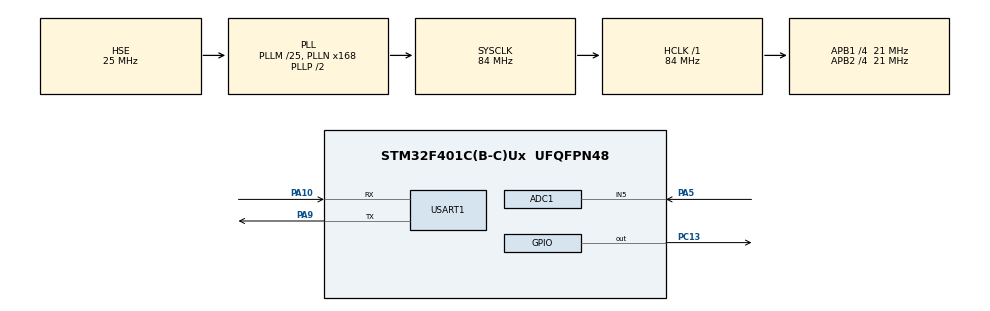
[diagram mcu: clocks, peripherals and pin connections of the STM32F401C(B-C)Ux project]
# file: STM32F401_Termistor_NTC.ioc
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ADC1.Channel-5\#ChannelRegularConversion=ADC_CHANNEL_5
ADC1.ClockPrescaler=ADC_CLOCK_SYNC_PCLK_DIV6
ADC1.ContinuousConvMode=ENABLE
ADC1.DMAContinuousRequests=DISABLE
ADC1.EOCSelection=ADC_EOC_SEQ_CONV
ADC1.InjNumberOfConversion=0
ADC1.NbrOfConversion=1
ADC1.NbrOfConversionFlag=1
ADC1.Rank-5\#ChannelRegularConversion=1
ADC1.SamplingTime-5\#ChannelRegularConversion=ADC_SAMPLETIME_15CYCLES
ADC1.master=1
Dma.Request0=USART1_RX
Dma.Request1=USART1_TX
Dma.USART1_RX.0.Direction=DMA_PERIPH_TO_MEMORY
Dma.USART1_RX.0.FIFOMode=DMA_FIFOMODE_DISABLE
Dma.USART1_RX.0.Instance=DMA2_Stream2
Dma.USART1_RX.0.MemDataAlignment=DMA_MDATAALIGN_BYTE
Dma.USART1_RX.0.MemInc=DMA_MINC_ENABLE
Dma.USART1_RX.0.Mode=DMA_NORMAL
Dma.USART1_RX.0.PeriphDataAlignment=DMA_PDATAALIGN_BYTE
Dma.USART1_RX.0.PeriphInc=DMA_PINC_DISABLE
Dma.USART1_RX.0.Priority=DMA_PRIORITY_LOW
Dma.USART1_TX.1.Direction=DMA_MEMORY_TO_PERIPH
Dma.USART1_TX.1.FIFOMode=DMA_FIFOMODE_DISABLE
Dma.USART1_TX.1.Instance=DMA2_Stream7
Dma.USART1_TX.1.MemDataAlignment=DMA_MDATAALIGN_BYTE
Dma.USART1_TX.1.MemInc=DMA_MINC_ENABLE
Dma.USART1_TX.1.Mode=DMA_NORMAL
Dma.USART1_TX.1.PeriphDataAlignment=DMA_PDATAALIGN_BYTE
Dma.USART1_TX.1.PeriphInc=DMA_PINC_DISABLE
Dma.USART1_TX.1.Priority=DMA_PRIORITY_LOW
Mcu.Family=STM32F4
Mcu.Name=STM32F401C(B-C)Ux
Mcu.Package=UFQFPN48
NVIC.DMA2_Stream2_IRQn=true\:2\:0\:true\:false\:true\:false\:true\:true
NVIC.DMA2_Stream7_IRQn=true\:0\:0\:false\:false\:true\:false\:true\:true
NVIC.PriorityGroup=NVIC_PRIORITYGROUP_4
NVIC.USART1_IRQn=true\:1\:0\:true\:false\:true\:true\:true\:true
PA10.Mode=Asynchronous
PA10.Signal=USART1_RX
PA13.Mode=Serial_Wire
PA13.Signal=SYS_JTMS-SWDIO
PA14.Mode=Serial_Wire
PA14.Signal=SYS_JTCK-SWCLK
PA5.Signal=ADCx_IN5
PA9.Mode=Asynchronous
PA9.Signal=USART1_TX
PC13-ANTI_TAMP.Signal=GPIO_Output
PH0\ -\ OSC_IN.Mode=HSE-External-Oscillator
PH0\ -\ OSC_IN.Signal=RCC_OSC_IN
PH1\ -\ OSC_OUT.Mode=HSE-External-Oscillator
PH1\ -\ OSC_OUT.Signal=RCC_OSC_OUT
ProjectManager.HeapSize=0x200
ProjectManager.StackSize=0x400
ProjectManager.TargetToolchain=STM32CubeIDE
RCC.48MHZClocksFreq_Value=42000000
RCC.AHBFreq_Value=84000000
RCC.APB1CLKDivider=RCC_HCLK_DIV4
RCC.APB1Freq_Value=21000000
RCC.APB1TimFreq_Value=42000000
RCC.APB2CLKDivider=RCC_HCLK_DIV4
RCC.APB2Freq_Value=21000000
RCC.APB2TimFreq_Value=42000000
RCC.CortexFreq_Value=84000000
RCC.HCLKFreq_Value=84000000
RCC.HSE_VALUE=25000000
RCC.HSI_VALUE=16000000
RCC.LSE_VALUE=32768
RCC.PLLM=25
RCC.PLLN=168
RCC.PLLSourceVirtual=RCC_PLLSOURCE_HSE
RCC.SYSCLKFreq_VALUE=84000000
RCC.SYSCLKSource=RCC_SYSCLKSOURCE_PLLCLK
RCC.VCOOutputFreq_Value=168000000
SH.ADCx_IN5.0=ADC1_IN5,IN5
USART1.VirtualMode=VM_ASYNC
board=custom

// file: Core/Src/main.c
/* USER CODE BEGIN Header */
/**
 ******************************************************************************
 * @file           : main.c
 * @brief          : Main program body
 ******************************************************************************
 * @attention
 *
 * Copyright (c) 2023 STMicroelectronics.
 * All rights reserved.
 *
 * This software is licensed under terms that can be found in the LICENSE file
 * in the root directory of this software component.
 * If no LICENSE file comes with this software, it is provided AS-IS.
 *
 ******************************************************************************
 */
/* USER CODE END Header */
#include "main.h"

/* USER CODE BEGIN Includes */
#include "math.h"
#include <stdio.h>
#include <stdint.h>
#include <string.h>

/* USER CODE END Includes */

ADC_HandleTypeDef hadc1;

UART_HandleTypeDef huart1;
DMA_HandleTypeDef hdma_usart1_rx;
DMA_HandleTypeDef hdma_usart1_tx;

/* USER CODE BEGIN PV */

uint32_t valADC;

double res = 9876.0; // resistencia pull down con el termistor

double rntc = 100000.0; // resistencia medida

double temp_celcius_1;
double temp_celcius_2;
double temp_celcius_3;

char rxBufferDMA[50];
char txBufferDMA[50];
char outBuffer[50];
char dest[80];

/* coeficientes Steinhart-Hart */
/* https://www.thinksrs.com/downloads/programs/therm%20calc/ntccalibrator/ntccalculator.html */
double A = 0.6332632718e-3;
double B = 2.257307612e-4;
double C = 0.7990237204e-7;

uint32_t temp;

/* USER CODE END PV */

void SystemClock_Config(void);
static void MX_GPIO_Init(void);
static void MX_DMA_Init(void);
static void MX_ADC1_Init(void);
static void MX_USART1_UART_Init(void);
/* USER CODE BEGIN PFP */

double getTemp_1(double res_ntc);
double getTemp_2(double res_ntc);
double getTemp_3(double res_ntc);
float filter1(float signal);

char trama[] = { 0x11, 0x05, 0x00, 0xAC, 0xFF, 0X00 };

uint16_t CRC16_2(char *buf, uint16_t len);
uint16_t CRC16(char *nData, uint16_t wLength);

/* USER CODE END PFP */

int main(void) {

	/* MCU Configuration--------------------------------------------------------*/

	/* Reset of all peripherals, Initializes the Flash interface and the Systick. */
	HAL_Init();

	/* Configure the system clock */
	SystemClock_Config();

	/* Initialize all configured peripherals */
	MX_GPIO_Init();
	MX_DMA_Init();
	MX_ADC1_Init();
	MX_USART1_UART_Init();

	/* Infinite loop */
	/* USER CODE BEGIN WHILE */
	unsigned int n = CRC16_2(trama, 6);
	unsigned char x = (0xFF00 & n) >> 8, y = 0x00FF & n;

	HAL_ADC_Start(&hadc1);

	HAL_UARTEx_ReceiveToIdle_DMA(&huart1, (uint8_t*) rxBufferDMA,
			sizeof(rxBufferDMA));
	__HAL_DMA_DISABLE_IT(&hdma_usart1_rx, DMA_IT_HT);

	while (1) {

		/*  Calculamos el valor de resistencia en el termistor
		 *  mediante la lectura analogica */
		rntc = res * ((4095.0 / filter1(hadc1.Instance->DR)) - 1.0);

		// tres calculos diferentes

		temp_celcius_1 = getTemp_1(rntc);
		temp_celcius_2 = getTemp_2(rntc);
		temp_celcius_3 = getTemp_3(rntc);

		uint8_t l = sprintf(outBuffer, "temperaturas %.1f, %.1f, %.1f \r\n",
				temp_celcius_1, temp_celcius_2, temp_celcius_3);

		// Transmision sin DMA
		//HAL_UART_Transmit_DMA(&huart1, (uint8_t*) outBuffer, l);

		// Transmision con DMA
		HAL_UART_Transmit(&huart1, (uint8_t*) outBuffer, l, 100);
		/*

		 sprintf(outBuffer, "0x%04x\n", n); // to check original value
		 sprintf(outBuffer, "0x%02x\n0x%02x\n", x, y); // to check separated values
		 sprintf(outBuffer, "0x%04x ", CRC16_2(trama, 6));
		 sprintf(outBuffer, "numero 0x%04x", CRC16(trama, 6));
		 */

		HAL_Delay(200);

		/* USER CODE END WHILE */

	}
}

void SystemClock_Config(void) {
	RCC_OscInitTypeDef RCC_OscInitStruct = { 0 };
	RCC_ClkInitTypeDef RCC_ClkInitStruct = { 0 };

	/** Configure the main internal regulator output voltage
	 */
	__HAL_RCC_PWR_CLK_ENABLE();
	__HAL_PWR_VOLTAGESCALING_CONFIG(PWR_REGULATOR_VOLTAGE_SCALE2);

	/** Initializes the RCC Oscillators according to the specified parameters
	 * in the RCC_OscInitTypeDef structure.
	 */
	RCC_OscInitStruct.OscillatorType = RCC_OSCILLATORTYPE_HSE;
	RCC_OscInitStruct.HSEState = RCC_HSE_ON;
	RCC_OscInitStruct.PLL.PLLState = RCC_PLL_ON;
	RCC_OscInitStruct.PLL.PLLSource = RCC_PLLSOURCE_HSE;
	RCC_OscInitStruct.PLL.PLLM = 25;
	RCC_OscInitStruct.PLL.PLLN = 168;
	RCC_OscInitStruct.PLL.PLLP = RCC_PLLP_DIV2;
	RCC_OscInitStruct.PLL.PLLQ = 4;
	if (HAL_RCC_OscConfig(&RCC_OscInitStruct) != HAL_OK) {
		Error_Handler();
	}

	/** Initializes the CPU, AHB and APB buses clocks
	 */
	RCC_ClkInitStruct.ClockType = RCC_CLOCKTYPE_HCLK | RCC_CLOCKTYPE_SYSCLK
			| RCC_CLOCKTYPE_PCLK1 | RCC_CLOCKTYPE_PCLK2;
	RCC_ClkInitStruct.SYSCLKSource = RCC_SYSCLKSOURCE_PLLCLK;
	RCC_ClkInitStruct.AHBCLKDivider = RCC_SYSCLK_DIV1;
	RCC_ClkInitStruct.APB1CLKDivider = RCC_HCLK_DIV4;
	RCC_ClkInitStruct.APB2CLKDivider = RCC_HCLK_DIV4;

	if (HAL_RCC_ClockConfig(&RCC_ClkInitStruct, FLASH_LATENCY_2) != HAL_OK) {
		Error_Handler();
	}
}

static void MX_ADC1_Init(void) {

	ADC_ChannelConfTypeDef sConfig = { 0 };

	/** Configure the global features of the ADC (Clock, Resolution, Data Alignment and number of conversion)
	 */
	hadc1.Instance = ADC1;
	hadc1.Init.ClockPrescaler = ADC_CLOCK_SYNC_PCLK_DIV6;
	hadc1.Init.Resolution = ADC_RESOLUTION_12B;
	hadc1.Init.ScanConvMode = DISABLE;
	hadc1.Init.ContinuousConvMode = ENABLE;
	hadc1.Init.DiscontinuousConvMode = DISABLE;
	hadc1.Init.ExternalTrigConvEdge = ADC_EXTERNALTRIGCONVEDGE_NONE;
	hadc1.Init.ExternalTrigConv = ADC_SOFTWARE_START;
	hadc1.Init.DataAlign = ADC_DATAALIGN_RIGHT;
	hadc1.Init.NbrOfConversion = 1;
	hadc1.Init.DMAContinuousRequests = DISABLE;
	hadc1.Init.EOCSelection = ADC_EOC_SEQ_CONV;
	if (HAL_ADC_Init(&hadc1) != HAL_OK) {
		Error_Handler();
	}

	/** Configure for the selected ADC regular channel its corresponding rank in the sequencer and its sample time.
	 */
	sConfig.Channel = ADC_CHANNEL_5;
	sConfig.Rank = 1;
	sConfig.SamplingTime = ADC_SAMPLETIME_15CYCLES;
	if (HAL_ADC_ConfigChannel(&hadc1, &sConfig) != HAL_OK) {
		Error_Handler();
	}

}

static void MX_USART1_UART_Init(void) {

	huart1.Instance = USART1;
	huart1.Init.BaudRate = 115200;
	huart1.Init.WordLength = UART_WORDLENGTH_8B;
	huart1.Init.StopBits = UART_STOPBITS_1;
	huart1.Init.Parity = UART_PARITY_NONE;
	huart1.Init.Mode = UART_MODE_TX_RX;
	huart1.Init.HwFlowCtl = UART_HWCONTROL_NONE;
	huart1.Init.OverSampling = UART_OVERSAMPLING_16;
	if (HAL_UART_Init(&huart1) != HAL_OK) {
		Error_Handler();
	}

}

static void MX_DMA_Init(void) {

	/* DMA controller clock enable */
	__HAL_RCC_DMA2_CLK_ENABLE();

	/* DMA interrupt init */
	/* DMA2_Stream2_IRQn interrupt configuration */
	HAL_NVIC_SetPriority(DMA2_Stream2_IRQn, 2, 0);
	HAL_NVIC_EnableIRQ(DMA2_Stream2_IRQn);
	/* DMA2_Stream7_IRQn interrupt configuration */
	HAL_NVIC_SetPriority(DMA2_Stream7_IRQn, 0, 0);
	HAL_NVIC_EnableIRQ(DMA2_Stream7_IRQn);

}

static void MX_GPIO_Init(void) {
	GPIO_InitTypeDef GPIO_InitStruct = { 0 };

	/* GPIO Ports Clock Enable */
	__HAL_RCC_GPIOC_CLK_ENABLE();
	__HAL_RCC_GPIOH_CLK_ENABLE();
	__HAL_RCC_GPIOA_CLK_ENABLE();

	/*Configure GPIO pin Output Level */
	HAL_GPIO_WritePin(GPIOC, GPIO_PIN_13, GPIO_PIN_RESET);

	/*Configure GPIO pin : PC13 */
	GPIO_InitStruct.Pin = GPIO_PIN_13;
	GPIO_InitStruct.Mode = GPIO_MODE_OUTPUT_PP;
	GPIO_InitStruct.Pull = GPIO_NOPULL;
	GPIO_InitStruct.Speed = GPIO_SPEED_FREQ_LOW;
	HAL_GPIO_Init(GPIOC, &GPIO_InitStruct);

}

/* USER CODE BEGIN 4 */

/* funcion con coeficientes Steinhart-Hart */
double getTemp_1(double res_ntc) {

	double tempKelvin;
	double tempCelcius;
	double log_r;

	log_r = log(res_ntc);

	tempKelvin = 1 / (A + (B * log_r) + (C * log_r * log_r * log_r));
	tempCelcius = tempKelvin - 273.15;  // Kelvin a grados centigrados

	return tempCelcius;

}

/* funcion con menos carga computacional */
/* funcion con la contstante 3950 */
double getTemp_2(double res_ntc) {

	double beta = 3950.0;
	double temp0 = 298.15; // 25 grados celcius
	double r0 = 100000.0;  // res a 25 grados celcius

	float tempKelvin;
	float tempCelcius;

	tempKelvin = beta / (log(res_ntc / r0) + (beta / temp0));
	tempCelcius = tempKelvin - 273.15;  // Kelvin a grados centigrados

	return tempCelcius;

}

/* funcion con mas carga computacional */
/* funcion con la contstante 3950 */
double getTemp_3(double res_ntc) {

	double beta = 3950.0;
	double temp0 = 298.15; // 25 grados celcius
	double r0 = 100000.0;  // res a 25 grados celcius

	double tempKelvin;
	double tempCelcius;

	tempKelvin = pow((log(res_ntc / r0) / beta) + (1 / temp0), -1);
	tempCelcius = tempKelvin - 273.15;  // Kelvin a grados centigrados

	return tempCelcius;

}

float filter1(float signal) {
	float alpha = 0.1818f; // alpha = 2/(n+1) -- n es el numero de muestras a promediar
	static float s = 0;

	// EMA = (alpha * ValorActual) + (( 1 - alpha) * EMA_anterior)
	s = (alpha * signal) + ((1 - alpha) * s);
	return s;
}

void HAL_UARTEx_RxEventCallback(UART_HandleTypeDef *huart, uint16_t Size) {
	uint32_t cant;

	// En caso de haber vaiorios  UART habilitados preguntar cual genero la interrupcion
	if (huart->Instance == USART1) {
		// obtener la longitud de la cadena recibida
		cant = __HAL_DMA_GET_COUNTER(&hdma_usart1_rx); //lee el valor del contador regrecivo DMA
		cant = sizeof(rxBufferDMA) - cant;
		//copia los datos recibidos
		memcpy(dest, rxBufferDMA, cant);

		HAL_UARTEx_ReceiveToIdle_DMA(&huart1, (uint8_t*) rxBufferDMA,
				sizeof(rxBufferDMA));
		__HAL_DMA_DISABLE_IT(&hdma_usart1_rx, DMA_IT_HT);
	}

}

uint16_t CRC16_2(char *buf, uint16_t len) {
	uint16_t crc = 0xFFFF;
	for (int pos = 0; pos < len; pos++) {
		crc ^= (unsigned int) buf[pos];  // XOR byte into least sig. byte of crc

		for (int i = 8; i != 0; i--) {    // Loop over each bit
			if ((crc & 0x0001) != 0) {      // If the LSB is set
				crc >>= 1;                    // Shift right and XOR 0xA001
				crc ^= 0xA001;
			} else
				// Else LSB is not set
				crc >>= 1;                    // Just shift right
		}
	}

	return crc;
}

uint16_t CRC16(char *nData, uint16_t wLength) {
	const uint16_t wCRCTable[] = { 0X0000, 0XC0C1, 0XC181, 0X0140, 0XC301,
			0X03C0, 0X0280, 0XC241, 0XC601, 0X06C0, 0X0780, 0XC741, 0X0500,
			0XC5C1, 0XC481, 0X0440, 0XCC01, 0X0CC0, 0X0D80, 0XCD41, 0X0F00,
			0XCFC1, 0XCE81, 0X0E40, 0X0A00, 0XCAC1, 0XCB81, 0X0B40, 0XC901,
			0X09C0, 0X0880, 0XC841, 0XD801, 0X18C0, 0X1980, 0XD941, 0X1B00,
			0XDBC1, 0XDA81, 0X1A40, 0X1E00, 0XDEC1, 0XDF81, 0X1F40, 0XDD01,
			0X1DC0, 0X1C80, 0XDC41, 0X1400, 0XD4C1, 0XD581, 0X1540, 0XD701,
			0X17C0, 0X1680, 0XD641, 0XD201, 0X12C0, 0X1380, 0XD341, 0X1100,
			0XD1C1, 0XD081, 0X1040, 0XF001, 0X30C0, 0X3180, 0XF141, 0X3300,
			0XF3C1, 0XF281, 0X3240, 0X3600, 0XF6C1, 0XF781, 0X3740, 0XF501,
			0X35C0, 0X3480, 0XF441, 0X3C00, 0XFCC1, 0XFD81, 0X3D40, 0XFF01,
			0X3FC0, 0X3E80, 0XFE41, 0XFA01, 0X3AC0, 0X3B80, 0XFB41, 0X3900,
			0XF9C1, 0XF881, 0X3840, 0X2800, 0XE8C1, 0XE981, 0X2940, 0XEB01,
			0X2BC0, 0X2A80, 0XEA41, 0XEE01, 0X2EC0, 0X2F80, 0XEF41, 0X2D00,
			0XEDC1, 0XEC81, 0X2C40, 0XE401, 0X24C0, 0X2580, 0XE541, 0X2700,
			0XE7C1, 0XE681, 0X2640, 0X2200, 0XE2C1, 0XE381, 0X2340, 0XE101,
			0X21C0, 0X2080, 0XE041, 0XA001, 0X60C0, 0X6180, 0XA141, 0X6300,
			0XA3C1, 0XA281, 0X6240, 0X6600, 0XA6C1, 0XA781, 0X6740, 0XA501,
			0X65C0, 0X6480, 0XA441, 0X6C00, 0XACC1, 0XAD81, 0X6D40, 0XAF01,
			0X6FC0, 0X6E80, 0XAE41, 0XAA01, 0X6AC0, 0X6B80, 0XAB41, 0X6900,
			0XA9C1, 0XA881, 0X6840, 0X7800, 0XB8C1, 0XB981, 0X7940, 0XBB01,
			0X7BC0, 0X7A80, 0XBA41, 0XBE01, 0X7EC0, 0X7F80, 0XBF41, 0X7D00,
			0XBDC1, 0XBC81, 0X7C40, 0XB401, 0X74C0, 0X7580, 0XB541, 0X7700,
			0XB7C1, 0XB681, 0X7640, 0X7200, 0XB2C1, 0XB381, 0X7340, 0XB101,
			0X71C0, 0X7080, 0XB041, 0X5000, 0X90C1, 0X9181, 0X5140, 0X9301,
			0X53C0, 0X5280, 0X9241, 0X9601, 0X56C0, 0X5780, 0X9741, 0X5500,
			0X95C1, 0X9481, 0X5440, 0X9C01, 0X5CC0, 0X5D80, 0X9D41, 0X5F00,
			0X9FC1, 0X9E81, 0X5E40, 0X5A00, 0X9AC1, 0X9B81, 0X5B40, 0X9901,
			0X59C0, 0X5880, 0X9841, 0X8801, 0X48C0, 0X4980, 0X8941, 0X4B00,
			0X8BC1, 0X8A81, 0X4A40, 0X4E00, 0X8EC1, 0X8F81, 0X4F40, 0X8D01,
			0X4DC0, 0X4C80, 0X8C41, 0X4400, 0X84C1, 0X8581, 0X4540, 0X8701,
			0X47C0, 0X4680, 0X8641, 0X8201, 0X42C0, 0X4380, 0X8341, 0X4100,
			0X81C1, 0X8081, 0X4040 };

	unsigned char nTemp;
	uint16_t wCRCWord = 0xFFFF;

	while (wLength--) {
		nTemp = *nData++ ^ wCRCWord;
		wCRCWord >>= 8;
		wCRCWord ^= wCRCTable[nTemp];
	}
	return wCRCWord;

}

/*
 #include <stdio.h>
 char trama[] = {0x11, 0x05, 0x00, 0xAC, 0xFF, 0X00};

 unsigned int CRC16_1( unsigned char *buf, int len);
 unsigned int CRC16_2( unsigned char *nData, unsigned int wLength);

 int main()
 {
 printf("******** funcion 1 **********\n\n");
 unsigned int n = CRC16_1(trama,6);
 unsigned char x = (0xFF00&n)>>8,y=0x00FF&n;

 printf("CRC_16 = 0x%04X\n", n); // to check original value
 printf("8bits_msb = 0x%02X\n8bits_lsb = 0x%02X\n",x,y); // to check separated values

 // 0x8b4e

 printf("\n******** funcion 2 **********\n\n");

 printf("CRC_16 = 0x%04x\n ",CRC16_2(trama,6));

 return 0;
 }

 unsigned int CRC16_1(unsigned char *buf, int len)
 {
 unsigned int crc = 0xFFFF;
 for (int pos = 0; pos < len; pos++)
 {
 crc ^= (unsigned int)buf[pos];    // XOR byte into least sig. byte of crc

 for (int i = 8; i != 0; i--) {    // Loop over each bit
 if ((crc & 0x0001) != 0) {      // If the LSB is set
 crc >>= 1;                    // Shift right and XOR 0xA001
 crc ^= 0xA001;
 }
 else                            // Else LSB is not set
 crc >>= 1;                    // Just shift right
 }
 }

 return crc;
 }

 unsigned int CRC16_2( unsigned char *nData, unsigned int wLength)
 {
 const unsigned int wCRCTable[] = {
 0X0000, 0XC0C1, 0XC181, 0X0140, 0XC301, 0X03C0, 0X0280, 0XC241,
 0XC601, 0X06C0, 0X0780, 0XC741, 0X0500, 0XC5C1, 0XC481, 0X0440,
 0XCC01, 0X0CC0, 0X0D80, 0XCD41, 0X0F00, 0XCFC1, 0XCE81, 0X0E40,
 0X0A00, 0XCAC1, 0XCB81, 0X0B40, 0XC901, 0X09C0, 0X0880, 0XC841,
 0XD801, 0X18C0, 0X1980, 0XD941, 0X1B00, 0XDBC1, 0XDA81, 0X1A40,
 0X1E00, 0XDEC1, 0XDF81, 0X1F40, 0XDD01, 0X1DC0, 0X1C80, 0XDC41,
 0X1400, 0XD4C1, 0XD581, 0X1540, 0XD701, 0X17C0, 0X1680, 0XD641,
 0XD201, 0X12C0, 0X1380, 0XD341, 0X1100, 0XD1C1, 0XD081, 0X1040,
 0XF001, 0X30C0, 0X3180, 0XF141, 0X3300, 0XF3C1, 0XF281, 0X3240,
 0X3600, 0XF6C1, 0XF781, 0X3740, 0XF501, 0X35C0, 0X3480, 0XF441,
 0X3C00, 0XFCC1, 0XFD81, 0X3D40, 0XFF01, 0X3FC0, 0X3E80, 0XFE41,
 0XFA01, 0X3AC0, 0X3B80, 0XFB41, 0X3900, 0XF9C1, 0XF881, 0X3840,
 0X2800, 0XE8C1, 0XE981, 0X2940, 0XEB01, 0X2BC0, 0X2A80, 0XEA41,
 0XEE01, 0X2EC0, 0X2F80, 0XEF41, 0X2D00, 0XEDC1, 0XEC81, 0X2C40,
 0XE401, 0X24C0, 0X2580, 0XE541, 0X2700, 0XE7C1, 0XE681, 0X2640,
 0X2200, 0XE2C1, 0XE381, 0X2340, 0XE101, 0X21C0, 0X2080, 0XE041,
 0XA001, 0X60C0, 0X6180, 0XA141, 0X6300, 0XA3C1, 0XA281, 0X6240,
 0X6600, 0XA6C1, 0XA781, 0X6740, 0XA501, 0X65C0, 0X6480, 0XA441,
 0X6C00, 0XACC1, 0XAD81, 0X6D40, 0XAF01, 0X6FC0, 0X6E80, 0XAE41,
 0XAA01, 0X6AC0, 0X6B80, 0XAB41, 0X6900, 0XA9C1, 0XA881, 0X6840,
 0X7800, 0XB8C1, 0XB981, 0X7940, 0XBB01, 0X7BC0, 0X7A80, 0XBA41,
 0XBE01, 0X7EC0, 0X7F80, 0XBF41, 0X7D00, 0XBDC1, 0XBC81, 0X7C40,
 0XB401, 0X74C0, 0X7580, 0XB541, 0X7700, 0XB7C1, 0XB681, 0X7640,
 0X7200, 0XB2C1, 0XB381, 0X7340, 0XB101, 0X71C0, 0X7080, 0XB041,
 0X5000, 0X90C1, 0X9181, 0X5140, 0X9301, 0X53C0, 0X5280, 0X9241,
 0X9601, 0X56C0, 0X5780, 0X9741, 0X5500, 0X95C1, 0X9481, 0X5440,
 0X9C01, 0X5CC0, 0X5D80, 0X9D41, 0X5F00, 0X9FC1, 0X9E81, 0X5E40,
 0X5A00, 0X9AC1, 0X9B81, 0X5B40, 0X9901, 0X59C0, 0X5880, 0X9841,
 0X8801, 0X48C0, 0X4980, 0X8941, 0X4B00, 0X8BC1, 0X8A81, 0X4A40,
 0X4E00, 0X8EC1, 0X8F81, 0X4F40, 0X8D01, 0X4DC0, 0X4C80, 0X8C41,
 0X4400, 0X84C1, 0X8581, 0X4540, 0X8701, 0X47C0, 0X4680, 0X8641,
 0X8201, 0X42C0, 0X4380, 0X8341, 0X4100, 0X81C1, 0X8081, 0X4040 };

 unsigned char nTemp;
 unsigned int wCRCWord = 0xFFFF;

 while (wLength--)
 {
 nTemp = *nData++ ^ wCRCWord;
 wCRCWord >>= 8;
 wCRCWord ^= wCRCTable[nTemp];
 }
 return wCRCWord;

 }

 */

/* USER CODE END 4 */

void Error_Handler(void) {
	__disable_irq();
	while (1) {
	}
}
